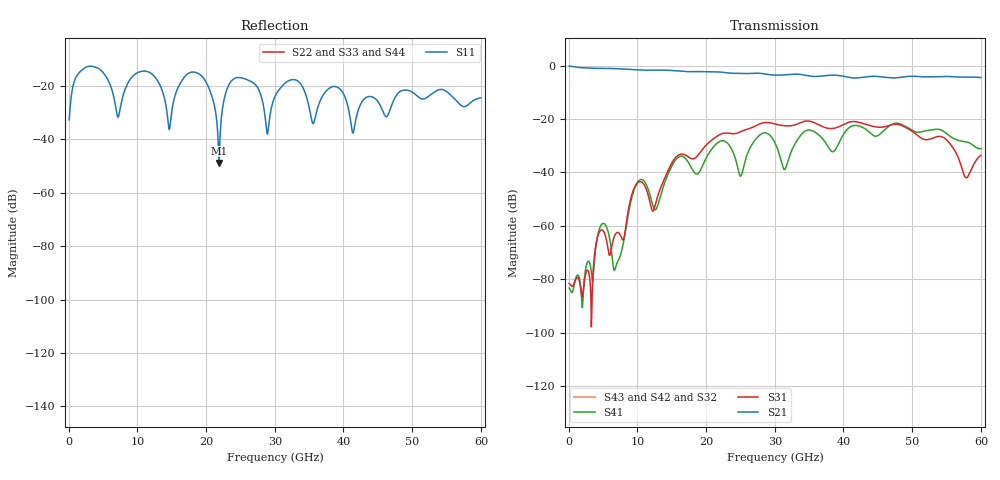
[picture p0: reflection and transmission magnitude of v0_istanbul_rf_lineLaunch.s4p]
! TOUCHSTONE file generated by CST MICROWAVE STUDIO
! Date and time: Fri Nov  6 09:24:55 2026
! Project name: v0_istanbul_rf_line+Launch.cst
! Parameters = {LN_THICKNESS=0.000275; SILICON_THICKNESS=0.55}
! Header version: 2024
! Port assignment regex: !\s*Touchstone port\s*([0-9]+)\s*=\s*(CST MWS port|CST DES external port|CST DES block port)\s*(.+)\s* \(\"(.*)\"\)(\s*mode\s*([0-9]+))?.*
! Touchstone port assignment:
! Touchstone port 1 = CST MWS port 1 ("")
! Touchstone port 2 = CST MWS port 2 ("")
! Touchstone port 3 = CST MWS port 3 ("")
! Touchstone port 4 = CST MWS port 4 ("")
# GHz S MA R 50
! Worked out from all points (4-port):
!   1000 points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, 60 MHz to 60 GHz, reference 50 ohm
!   strongest paths, dB at 60 MHz, 15.06 GHz, 30.06 GHz, 45.06 GHz, 60 GHz:
!     S21: -0.2, -1.8, -3.5, -4.1, -4.5
!     S31: -81.6, -36.2, -21.8, -23.0, -33.6
!     S41: -83.3, -37.4, -29.1, -26.1, -31.1
!     S43: -, -, -, -, -
!     S42: -, -, -, -, -
!     S32: -, -, -, -, -
!   lowest |S11| = -48.9 dB at 21.9 GHz (marker M1), VSWR 1.01, Z = 50.4 - j0.0262 ohm
!   |S11| at or under -10 dB: start of sweep to end of sweep
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0.06  0.02318 22.9  0 0.0  0 0.0  0 0.0
      0.9788 -1.8  0 0.0  0 0.0  0 0.0
      8.324e-05 -13.0  0 0.0  0 0.0  0 0.0
      6.878e-05 -13.1  0 0.0  0 0.0  0 0.0
6.48  0.06889 -69.7  0 0.0  0 0.0  0 0.0
      0.8826 -167.1  0 0.0  0 0.0  0 0.0
      0.0005468 9.0  0 0.0  0 0.0  0 0.0
      0.0001772 -150.5  0 0.0  0 0.0  0 0.0
14.04  0.05109 -81.2  0 0.0  0 0.0  0 0.0
       0.824 2.1  0 0.0  0 0.0  0 0.0
       0.008195 168.4  0 0.0  0 0.0  0 0.0
       0.00678 -101.8  0 0.0  0 0.0  0 0.0
21.9  0.003596 -4.1  0 0.0  0 0.0  0 0.0
      0.7623 164.4  0 0.0  0 0.0  0 0.0
      0.05037 13.4  0 0.0  0 0.0  0 0.0
      0.03768 -70.9  0 0.0  0 0.0  0 0.0
28.08  0.06015 -115.5  0 0.0  0 0.0  0 0.0
       0.714 10.1  0 0.0  0 0.0  0 0.0
       0.08356 -7.5  0 0.0  0 0.0  0 0.0
       0.05324 99.2  0 0.0  0 0.0  0 0.0
35.58  0.0197 129.0  0 0.0  0 0.0  0 0.0
       0.6289 -174.7  0 0.0  0 0.0  0 0.0
       0.08722 -96.8  0 0.0  0 0.0  0 0.0
       0.05964 -155.0  0 0.0  0 0.0  0 0.0
60  0.05962 61.5  0 0.0  0 0.0  0 0.0
    0.5989 -63.0  0 0.0  0 0.0  0 0.0
    0.0209 -136.5  0 0.0  0 0.0  0 0.0
    0.02773 -162.2  0 0.0  0 0.0  0 0.0
